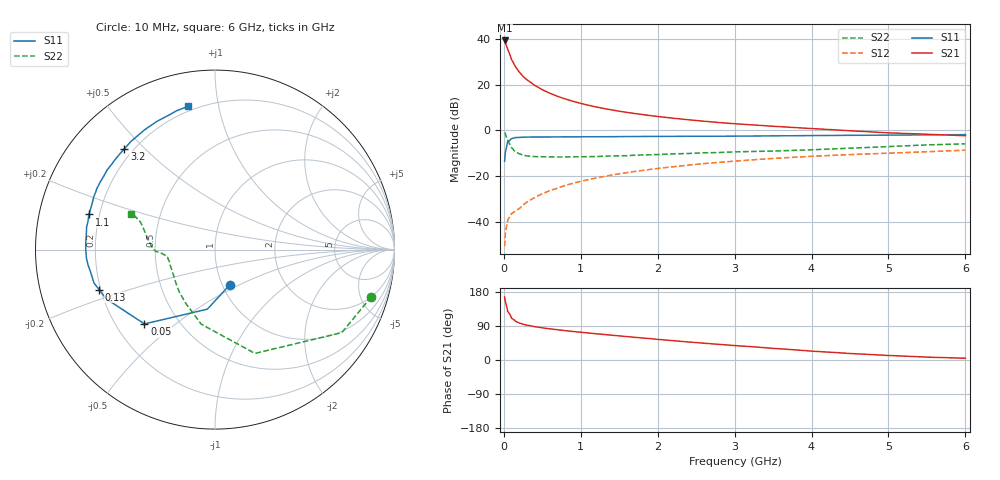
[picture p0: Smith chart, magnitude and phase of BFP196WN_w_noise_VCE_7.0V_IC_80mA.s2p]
! Infineon Technologies  Discrete & RF Semiconductors
! BFP196WN
! VCE =  7.0 V,  IC =  80 mA
! Common Emitter S-Parameters:  Jan 2017
# GHz  S  MA  R  50
!  f  S11  S21  S12  S22
! GHz  MAG  ANG  MAG  ANG  MAG  ANG  MAG  ANG
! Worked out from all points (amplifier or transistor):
!   77 points, 10 MHz to 6 GHz, reference 50 ohm
!   highest |S21| = 39.5 dB at 10 MHz (marker M1)
!   |S21| within 3 dB of that: start of sweep to 40.83 MHz
!   unconditionally stable (mu >= 1): 557.2 MHz to 2.598 GHz
!   at 130 MHz: K = 0.64, MSG = 32.6 dB, |S12| = -35.8 dB
!   at 2.2 GHz: K = 1.02, MAG = 9.9 dB, |S12| = -15.9 dB
!   at 6 GHz: K = 0.91, MSG = 3.2 dB, |S12| = -8.6 dB
!   lowest NFmin = 1.58 dB at 450 MHz
!   S11 on the Smith chart (normalised r, x): 10 MHz: 1.08, -0.45; 50 MHz: 0.32, -0.39; 130 MHz: 0.19, -0.16; 1.1 GHz: 0.16, +0.13; 3.2 GHz: 0.17, +0.43; 6 GHz: 0.17, +0.81
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0.01  0.2129 -67.2  94.48 166.4  0.0029 80.1  0.9094 -16.8
0.02  0.3345 -97.3  85.42 153.2  0.0054 69.6  0.8446 -33.2
0.05  0.5707 -133.5  60.89 128.0  0.0107 54.9  0.6196 -69.0
0.1  0.6638 -155.4  36.03 110.4  0.0149 52.6  0.4224 -100.5
0.13  0.6831 -161.0  29.47 106.3  0.0163 53.4  0.3692 -110.3
0.15  0.6995 -164.6  25.22 102.4  0.0172 53.8  0.3413 -118.4
0.2  0.7044 -169.9  19.16 97.7  0.0193 57.7  0.3086 -130.3
0.25  0.7128 -173.2  15.45 94.4  0.0231 59.7  0.2903 -137.8
0.3  0.7177 -176.1  12.95 91.9  0.0269 63.3  0.2768 -144.4
0.4  0.72 -179.9  9.782 87.9  0.0337 67.7  0.268 -152.0
0.5  0.7208 177.0  7.841 84.9  0.041 68.7  0.2652 -157.3
0.6  0.7212 174.5  6.548 82.2  0.0481 69.5  0.2644 -161.2
0.7  0.723 172.3  5.606 79.9  0.0545 70.4  0.2618 -163.7
0.9  0.7246 168.0  4.359 75.2  0.0695 70.5  0.2651 -167.2
1.1  0.7293 164.4  3.58 71.3  0.0838 70.1  0.267 -170.0
1.5  0.734 157.8  2.648 63.6  0.112 68.5  0.2782 -173.6
2.1  0.7421 148.2  1.946 52.8  0.1536 64.2  0.3021 -176.3
3.1  0.7534 133.5  1.373 36.8  0.2187 55.9  0.3424 179.5
3.2  0.7552 132.0  1.338 35.4  0.225 55.0  0.3452 178.8
4.1  0.7755 119.3  1.08 22.2  0.2763 47.2  0.3834 170.0
5.1  0.7934 108.5  0.876 11.1  0.3227 39.6  0.4514 159.1
6  0.8118 100.8  0.767 4.6  0.3695 33.6  0.5098 156.8
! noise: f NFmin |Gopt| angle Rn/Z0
0.45  1.58  0.58  -175  0.05
0.9  1.71  0.59  -168  0.07
1.9  2.67  0.7  -146  0.21
2.4  3.48  0.71  -138  0.35
